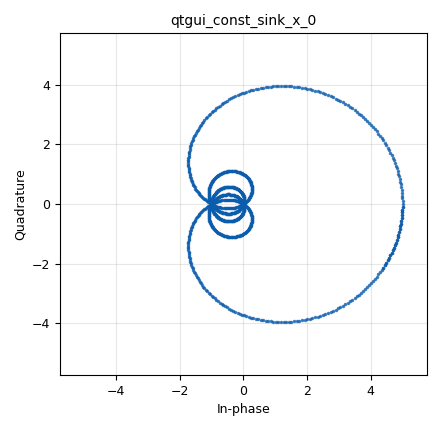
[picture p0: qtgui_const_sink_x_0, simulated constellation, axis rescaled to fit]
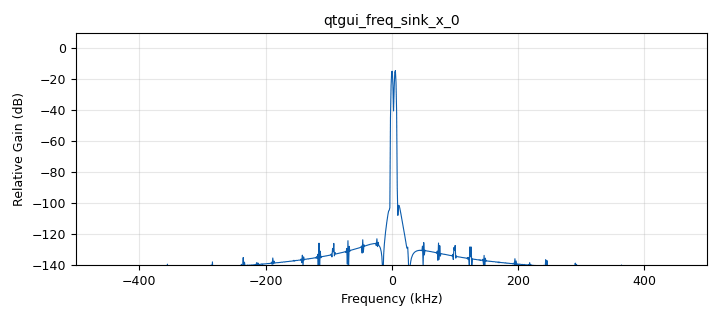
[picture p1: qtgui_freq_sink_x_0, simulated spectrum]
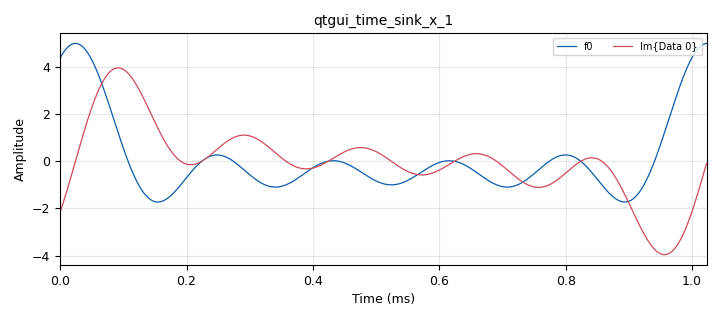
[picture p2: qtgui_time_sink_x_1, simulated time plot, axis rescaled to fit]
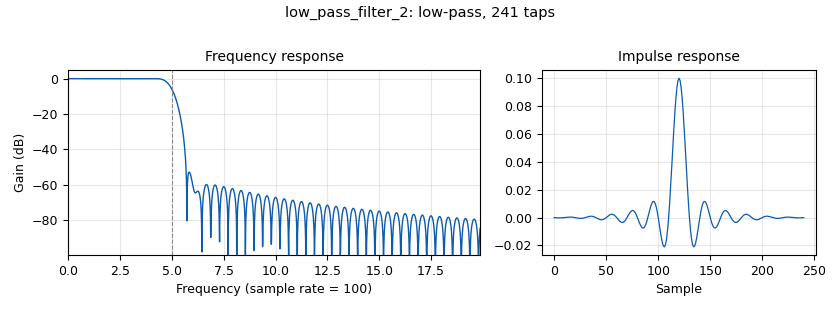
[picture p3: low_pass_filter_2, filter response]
options:
  parameters:
    author: Andre Teo
    generate_options: qt_gui
    id: multitone_test
    output_language: python
    title: Multi-tone Generation
  states: {}

blocks:
- name: buffer_size
  id: variable
  parameters:
    value: '32768'
  states: {}
- name: buffer_size_0
  id: variable
  parameters:
    value: '32768'
  states: {}
- name: bw
  id: variable
  parameters:
    value: 10e3
  states: {}
- name: f0
  id: variable
  parameters:
    value: 1e3
  states: {}
- name: f1
  id: variable
  parameters:
    value: 10e3
  states: {}
- name: fft_size
  id: variable
  parameters:
    value: '1024'
  states: {}
- name: pi
  id: variable
  parameters:
    value: math.pi
  states: {}
- name: samp_rate
  id: variable
  parameters:
    value: 1e6
  states: {}
- name: vco_sensitivity
  id: variable
  parameters:
    value: 2*bw*pi
  states: {}
- name: vco_sensitivity_0
  id: variable
  parameters:
    value: 2*bw*pi
  states: {}
- name: analog_sig_source_x_0
  id: analog_sig_source_x
  parameters:
    amp: '1'
    freq: 2e3
    offset: '0'
    phase: '0'
    samp_rate: samp_rate
    type: complex
    waveform: analog.GR_COS_WAVE
  states: {}
- name: analog_sig_source_x_1
  id: analog_sig_source_x
  parameters:
    amp: '1'
    freq: 1e3
    offset: '0'
    phase: '0'
    samp_rate: samp_rate
    type: complex
    waveform: analog.GR_COS_WAVE
  states: {}
- name: analog_sig_source_x_2
  id: analog_sig_source_x
  parameters:
    amp: '1'
    freq: 3e3
    offset: '0'
    phase: '0'
    samp_rate: samp_rate
    type: complex
    waveform: analog.GR_COS_WAVE
  states: {}
- name: analog_sig_source_x_3
  id: analog_sig_source_x
  parameters:
    amp: '1'
    freq: 4e3
    offset: '0'
    phase: '0'
    samp_rate: samp_rate
    type: complex
    waveform: analog.GR_COS_WAVE
  states: {}
- name: analog_sig_source_x_4
  id: analog_sig_source_x
  parameters:
    amp: '1'
    freq: 5e3
    offset: '0'
    phase: '0'
    samp_rate: samp_rate
    type: complex
    waveform: analog.GR_COS_WAVE
  states: {}
- name: band_pass_filter_0
  id: band_pass_filter
  parameters:
    decim: '1'
    gain: '1'
    high_cutoff_freq: '1500'
    low_cutoff_freq: '500'
    samp_rate: samp_rate
    type: fir_filter_ccf
    width: '100'
    win: window.WIN_HAMMING
  states: {state: disabled}
- name: blocks_multiply_conjugate_cc_0
  id: blocks_multiply_conjugate_cc
  parameters: {}
  states: {state: disabled}
- name: blocks_multiply_conjugate_cc_1
  id: blocks_multiply_conjugate_cc
  parameters: {}
  states: {state: disabled}
- name: blocks_multiply_conjugate_cc_2
  id: blocks_multiply_conjugate_cc
  parameters:
    vlen: fft_size
  states: {}
- name: blocks_stream_to_vector_0
  id: blocks_stream_to_vector
  parameters:
    num_items: fft_size
    type: complex
  states: {}
- name: blocks_stream_to_vector_1
  id: blocks_stream_to_vector
  parameters:
    num_items: fft_size
    type: complex
  states: {}
- name: blocks_vco_c_0
  id: blocks_vco_c
  parameters:
    amplitude: '1'
    samp_rate: int(samp_rate)
    sensitivity: vco_sensitivity_0
  states: {state: disabled}
- name: blocks_vector_to_stream_0
  id: blocks_vector_to_stream
  parameters:
    num_items: fft_size
    type: complex
  states: {}
- name: epy_block_0
  id: epy_block
  parameters:
    N: '10'
    _source_code: |
      import numpy as np
      from gnuradio import gr
      import math

      class mfcw_vco_control(gr.sync_block):
          """
          Generates a stepped frequency control signal (float) to drive a VCO block
          in GNU Radio. The VCO then outputs a multi-frequency waveform in time.

          The control waveform cycles from:
            f0, f0 + delta_f, ..., f0 + (N-1)*delta_f
          staying at each step for 'dwell_samples' samples,
          and repeats indefinitely.

          All frequency units here are in Hz (converted to rad/s before output).
          """

          def __init__(self, samp_rate=1e6, f0=1e5, N=5, delta_f=1e5, dwell_samples=1000):
              gr.sync_block.__init__(
                  self,
                  name="mfcw_vco_control",
                  in_sig=None,
                  out_sig=[np.float32]
              )
              self.samp_rate = float(samp_rate)
              self.f0 = float(f0)
              self.N = int(N)
              self.delta_f = float(delta_f)
              self.dwell_samples = int(dwell_samples)

              # Build the control waveform array
              # Frequencies in rad/s = 2*pi*(f0 + i*delta_f)
              self.waveform = []
              for i in range(self.N):
                  freq_hz = self.f0 + i * self.delta_f
                  freq_rad = 2.0 * math.pi * freq_hz
                  # fill 'dwell_samples' entries with freq_rad
                  self.waveform.extend([freq_rad] * self.dwell_samples)

              # Convert to numpy float32 array
              self.waveform = np.array(self.waveform, dtype=np.float32)
              self.waveform_len = len(self.waveform)

              # Pointer for indexing the waveform
              self.ptr = 0

          def work(self, input_items, output_items):
              out = output_items[0]
              out_len = len(out)
              for i in range(out_len):
                  out[i] = self.waveform[self.ptr]
                  self.ptr = (self.ptr + 1) % self.waveform_len
              return out_len
    delta_f: 10e3
    dwell_samples: '1000'
    f0: 10e3
    samp_rate: samp_rate
  states: {state: disabled}
- name: epy_block_0_0
  id: epy_block
  parameters:
    N: '10'
    _source_code: |
      import numpy as np
      from gnuradio import gr
      import math

      class mfcw_vco_control(gr.sync_block):
          """
          Generates a stepped frequency control signal (float) to drive a VCO block
          in GNU Radio. The VCO then outputs a multi-frequency waveform in time.

          The control waveform cycles from:
            f0, f0 + delta_f, ..., f0 + (N-1)*delta_f
          staying at each step for 'dwell_samples' samples,
          and repeats indefinitely.

          All frequency units here are in Hz (converted to rad/s before output).
          """

          def __init__(self, samp_rate=1e6, f0=1e5, N=5, delta_f=1e5, dwell_samples=1000):
              gr.sync_block.__init__(
                  self,
                  name="mfcw_vco_control",
                  in_sig=None,
                  out_sig=[np.float32]
              )
              self.samp_rate = float(samp_rate)
              self.f0 = float(f0)
              self.N = int(N)
              self.delta_f = float(delta_f)
              self.dwell_samples = int(dwell_samples)

              # Build the control waveform array
              # Frequencies in rad/s = 2*pi*(f0 + i*delta_f)
              self.waveform = []
              for i in range(self.N):
                  freq_hz = self.f0 + i * self.delta_f
                  freq_rad = 2.0 * math.pi * freq_hz
                  # fill 'dwell_samples' entries with freq_rad
                  self.waveform.extend([freq_rad] * self.dwell_samples)

              # Convert to numpy float32 array
              self.waveform = np.array(self.waveform, dtype=np.float32)
              self.waveform_len = len(self.waveform)

              # Pointer for indexing the waveform
              self.ptr = 0

          def work(self, input_items, output_items):
              out = output_items[0]
              out_len = len(out)
              for i in range(out_len):
                  out[i] = self.waveform[self.ptr]
                  self.ptr = (self.ptr + 1) % self.waveform_len
              return out_len
    delta_f: 1e3
    dwell_samples: '100'
    f0: 1e3
    samp_rate: samp_rate
  states: {state: disabled}
- name: epy_block_1
  id: epy_block
  parameters:
    _source_code: |
      import numpy as np
      from gnuradio import gr

      class sum_signals(gr.sync_block):
          """
          Sums an arbitrary number of float streams.
          """
          def __init__(self, n_inputs=5):
              gr.sync_block.__init__(
                  self,
                  name="sum_signals",
                  in_sig=[np.complex64] * n_inputs,
                  out_sig=[np.complex64]
              )

          def work(self, input_items, output_items):
              # Initialize output to zero
              result = np.zeros_like(output_items[0])
              # Sum all input streams elementwise
              for sig in input_items:
                  result += sig
              output_items[0][:] = result
              return len(output_items[0])
    n_inputs: '5'
  states: {}
- name: epy_block_2
  id: epy_block
  parameters:
    _source_code: |
      import numpy as np
      from gnuradio import gr
      from gnuradio.filter import firdes, window

      class filter_bank_vectorized(gr.sync_block):
          """
          Vectorized Filter Bank Block for Multi-Tone Extraction

          This block takes a scalar stream of complex samples as input and outputs
          one complex stream per tone. Each output is produced by applying a narrow
          bandpass filter (designed via firdes.band_pass) centered at the specified
          tone frequency. The filtering is implemented in a vectorized manner over
          a block of input samples.

          Parameters:
            samp_rate   : The sample rate of the input signal.
            tone_centers: A list of center frequencies for each tone (in Hz).
            bw          : The passband bandwidth for each filter (in Hz), e.g., 500.
            transition  : The transition width for the filters (in Hz), e.g., 100.
            beta        : The beta parameter for the window (default 6.76).
          """
          def __init__(self, samp_rate=1e6, tone_centers=[1e3, 3e3, 5e3, 7e3, 9e3], bw=1e3, transition=100, beta=6.76):
              # One output stream per tone
              out_sig = [np.complex64] * len(tone_centers)
              in_sig = [np.complex64]  # input is a stream of complex samples
              gr.sync_block.__init__(self,
                  name="filter_bank_vectorized",
                  in_sig=in_sig,
                  out_sig=out_sig)

              self.samp_rate = samp_rate
              self.tone_centers = tone_centers
              self.bw = bw
              self.transition = transition
              self.beta = beta
              self.n_filters = len(tone_centers)
              
              # For each tone, design the filter taps and initialize a buffer for FIR filtering.
              self.filters = []  # list of numpy arrays (taps) for each filter
              self.buffers = []  # list of buffers (each of length L-1) per filter
              for f_center in tone_centers:
                  taps = firdes.band_pass(
                      gain=1,
                      sampling_freq=samp_rate,
                      low_cutoff_freq=f_center - bw/2,
                      high_cutoff_freq=f_center + bw/2,
                      transition_width=transition,
                      window=window.WIN_HAMMING,
                      param=beta  # use 'param' instead of 'beta'
                  )
                  taps = np.array(taps, dtype=np.complex64)
                  self.filters.append(taps)
                  # Initialize a buffer with length (len(taps)-1) to store previous samples.
                  self.buffers.append(np.zeros(len(taps) - 1, dtype=np.complex64))

          def work(self, input_items, output_items):
              in0 = input_items[0]   # shape: (n_samples,)
              n = len(in0)
              
              # Process each filter in the bank
              for i in range(self.n_filters):
                  taps = self.filters[i]
                  L = len(taps)
                  # Concatenate the previous buffer with the current block.
                  # The padded array has length = (L-1 + n)
                  pad = np.concatenate((self.buffers[i], in0))
                  # Use vectorized convolution (with mode='valid') to compute outputs for this block.
                  # We reverse the taps to match our desired dot product:
                  #   output[k] = sum_{j=0}^{L-1} taps[j] * pad[k + L - 1 - j]
                  conv_result = np.convolve(pad, taps[::-1], mode='valid')
                  # conv_result will have length = n
                  output_items[i][:] = conv_result
                  # Update the buffer with the last (L-1) samples of pad.
                  self.buffers[i] = pad[-(L - 1):].copy()
              
              return n
    beta: '6.76'
    bw: bw
    samp_rate: int(samp_rate)
    tone_centers: '[1000, 3000, 5000, 7000, 9000]'
    transition: '100'
  states: {state: disabled}
- name: fft_vxx_0
  id: fft_vxx
  parameters:
    fft_size: fft_size
    forward: 'True'
    shift: 'True'
    type: complex
    window: window.blackmanharris(fft_size)
  states: {}
- name: fft_vxx_1
  id: fft_vxx
  parameters:
    fft_size: fft_size
    forward: 'True'
    shift: 'True'
    type: complex
    window: window.blackmanharris(fft_size)
  states: {}
- name: iio_pluto_sink_0
  id: iio_pluto_sink
  parameters:
    attenuation1: '10.0'
    bandwidth: '20000000'
    buffer_size: '32768'
    cyclic: 'False'
    filter_source: '''Auto'''
    frequency: '2400000000'
    samplerate: int(samp_rate)
    type: fc32
    uri: ip:192.168.2.1
  states: {}
- name: iio_pluto_source_0
  id: iio_pluto_source
  parameters:
    bandwidth: '20000000'
    bbdc: 'True'
    buffer_size: '32768'
    filter_source: '''Auto'''
    frequency: '2400000000'
    gain1: '''slow_attack'''
    quadrature: 'True'
    rfdc: 'True'
    samplerate: int(samp_rate)
    type: fc32
    uri: ip:192.168.2.1
  states: {}
- name: import_0
  id: import
  parameters:
    imports: import math
  states: {}
- name: low_pass_filter_0
  id: low_pass_filter
  parameters:
    cutoff_freq: 10e3
    decim: '1'
    gain: '1'
    samp_rate: samp_rate
    type: fir_filter_ccf
    width: 1e3
    win: window.WIN_HAMMING
  states: {state: disabled}
- name: low_pass_filter_1
  id: low_pass_filter
  parameters:
    cutoff_freq: '1000'
    decim: '1'
    gain: '1'
    samp_rate: int(samp_rate)
    type: fir_filter_ccf
    width: '100'
    win: window.WIN_HAMMING
  states: {state: disabled}
- name: low_pass_filter_2
  id: low_pass_filter
  parameters:
    cutoff_freq: '5'
    decim: '1'
    gain: '1'
    samp_rate: '100'
    type: fir_filter_ccf
    width: '1'
    win: window.WIN_HAMMING
  states: {}
- name: qtgui_const_sink_x_0
  id: qtgui_const_sink_x
  parameters:
    gui_hint: 1, 3, 1, 1
    size: '1024'
    type: complex
  states: {}
- name: qtgui_const_sink_x_1
  id: qtgui_const_sink_x
  parameters:
    gui_hint: 2, 3, 1, 1
    size: '1024'
    type: complex
  states: {state: disabled}
- name: qtgui_const_sink_x_2
  id: qtgui_const_sink_x
  parameters:
    size: '1024'
    type: complex
  states: {}
- name: qtgui_freq_sink_x_0
  id: qtgui_freq_sink_x
  parameters:
    bw: samp_rate
    fc: '0'
    fftsize: '1024'
    gui_hint: 1, 1, 1, 1
    type: complex
  states: {}
- name: qtgui_freq_sink_x_1
  id: qtgui_freq_sink_x
  parameters:
    bw: samp_rate
    fc: '0'
    fftsize: '1024'
    gui_hint: 2, 2, 1, 1
    type: complex
  states: {state: disabled}
- name: qtgui_time_sink_x_0
  id: qtgui_time_sink_x
  parameters:
    gui_hint: 2, 1, 1, 1
    size: '1024'
    srate: samp_rate
    type: complex
  states: {state: disabled}
- name: qtgui_time_sink_x_1
  id: qtgui_time_sink_x
  parameters:
    gui_hint: 1, 2, 1, 1
    label1: f0
    size: '1024'
    srate: samp_rate
    type: complex
  states: {}
- name: qtgui_time_sink_x_2
  id: qtgui_time_sink_x
  parameters:
    size: '1024'
    srate: samp_rate
    type: complex
  states: {state: disabled}
- name: qtgui_time_sink_x_3
  id: qtgui_time_sink_x
  parameters:
    size: '1024'
    srate: samp_rate
    type: complex
  states: {state: disabled}
- name: qtgui_time_sink_x_4
  id: qtgui_time_sink_x
  parameters:
    size: '1024'
    srate: samp_rate
    type: complex
  states: {state: disabled}
- name: qtgui_time_sink_x_5
  id: qtgui_time_sink_x
  parameters:
    size: '1024'
    srate: samp_rate
    type: complex
  states: {state: disabled}
- name: qtgui_time_sink_x_6
  id: qtgui_time_sink_x
  parameters:
    size: '1024'
    srate: samp_rate
    type: complex
  states: {state: disabled}
- name: qtgui_time_sink_x_7
  id: qtgui_time_sink_x
  parameters:
    size: '1024'
    srate: samp_rate
    type: complex
  states: {}

connections:
- [analog_sig_source_x_0, '0', epy_block_1, '1']
- [analog_sig_source_x_1, '0', blocks_multiply_conjugate_cc_1, '0']
- [analog_sig_source_x_1, '0', epy_block_1, '0']
- [analog_sig_source_x_2, '0', epy_block_1, '2']
- [analog_sig_source_x_3, '0', epy_block_1, '3']
- [analog_sig_source_x_4, '0', epy_block_1, '4']
- [blocks_multiply_conjugate_cc_0, '0', low_pass_filter_0, '0']
- [blocks_multiply_conjugate_cc_1, '0', low_pass_filter_1, '0']
- [blocks_multiply_conjugate_cc_2, '0', blocks_vector_to_stream_0, '0']
- [blocks_stream_to_vector_0, '0', fft_vxx_0, '0']
- [blocks_stream_to_vector_1, '0', fft_vxx_1, '0']
- [blocks_vco_c_0, '0', blocks_stream_to_vector_1, '0']
- [blocks_vco_c_0, '0', iio_pluto_sink_0, '0']
- [blocks_vco_c_0, '0', qtgui_const_sink_x_0, '0']
- [blocks_vco_c_0, '0', qtgui_freq_sink_x_0, '0']
- [blocks_vco_c_0, '0', qtgui_time_sink_x_1, '0']
- [blocks_vector_to_stream_0, '0', low_pass_filter_2, '0']
- [epy_block_0_0, '0', blocks_vco_c_0, '0']
- [epy_block_1, '0', blocks_stream_to_vector_1, '0']
- [epy_block_1, '0', iio_pluto_sink_0, '0']
- [epy_block_1, '0', qtgui_const_sink_x_0, '0']
- [epy_block_1, '0', qtgui_freq_sink_x_0, '0']
- [epy_block_1, '0', qtgui_time_sink_x_1, '0']
- [epy_block_2, '0', qtgui_time_sink_x_2, '0']
- [epy_block_2, '1', qtgui_time_sink_x_6, '0']
- [epy_block_2, '2', qtgui_time_sink_x_4, '0']
- [epy_block_2, '3', qtgui_time_sink_x_5, '0']
- [epy_block_2, '4', qtgui_time_sink_x_3, '0']
- [fft_vxx_0, '0', blocks_multiply_conjugate_cc_2, '0']
- [fft_vxx_1, '0', blocks_multiply_conjugate_cc_2, '1']
- [iio_pluto_source_0, '0', blocks_multiply_conjugate_cc_1, '1']
- [iio_pluto_source_0, '0', blocks_stream_to_vector_0, '0']
- [low_pass_filter_0, '0', qtgui_const_sink_x_1, '0']
- [low_pass_filter_0, '0', qtgui_freq_sink_x_1, '0']
- [low_pass_filter_0, '0', qtgui_time_sink_x_0, '0']
- [low_pass_filter_1, '0', epy_block_2, '0']
- [low_pass_filter_2, '0', qtgui_const_sink_x_2, '0']
- [low_pass_filter_2, '0', qtgui_time_sink_x_7, '0']

metadata:
  file_format: 1
  grc_version: 3.10.10.0
